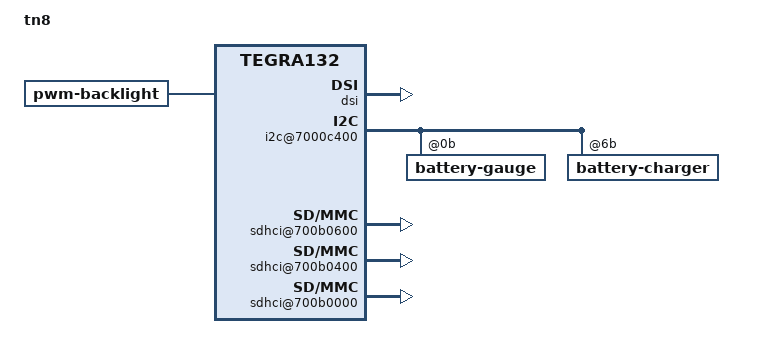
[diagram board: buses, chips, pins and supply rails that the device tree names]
/*
 * Copyright (c) 2014, NVIDIA CORPORATION.  All rights reserved.
 *
 * This program is free software; you can redistribute it and/or modify
 * it under the terms of the GNU General Public License as published by
 * the Free Software Foundation; either version 2 of the License, or
 * (at your option) any later version.
 *
 * This program is distributed in the hope that it will be useful, but WITHOUT
 * ANY WARRANTY; without even the implied warranty of MERCHANTABILITY or
 * FITNESS FOR A PARTICULAR PURPOSE.  See the GNU General Public License for
 * more details.
 *
 * You should have received a copy of the GNU General Public License along
 * with this program; if not, write to the Free Software Foundation, Inc.,
 * 51 Franklin Street, Fifth Floor, Boston, MA  02110-1301, USA.
 */

/dts-v1/;

#include "tegra132-tn8.dtsi"
#include "tegra124-platforms/tegra124-tn8-power-tree-e1936-1000-a03.dtsi"
#include "tegra124-platforms/tegra124-tn8-sensor-p1761-1270-a03.dtsi"
#include "tegra124-platforms/tegra124-tn8-pinmux-p1761-1470-a00.dtsi"
#include "tegra124-platforms/tegra124-tn8-gpio-p1761-1470-a00.dtsi"
#include "tegra124-platforms/tegra124-tn8-sysedp-p1761-1270-a02.dtsi"
#include "tegra132-platforms/tegra132-tn8-keys-p1761-1270-a03.dtsi"
#include "tegra132-platforms/tegra132-tn8-emc-p1761-1270-a03.dtsi"
#include "tegra124-platforms/tegra124-tn8-powermon-p1761-a02.dtsi"
#include "tegra132-tn8-dfll.dtsi"
#include "tegra124-platforms/tegra124-tn8-camera-p1761-1270-a03.dtsi"
#include "tegra124-platforms/tegra124-tn8-thermal-zone-p1761-1270-a00.dtsi"
#include "panel-a-wuxga-8-0.dtsi"
#include "tegra124-platforms/tegra124-tn8-hdmi-p1761-1270-a03.dtsi"
#include "tegra132-platforms/tegra132-sdhci.dtsi"
#include "tegra124-platforms/tegra124-tn8-comms.dtsi"

/ {
	model = "tn8";
	compatible = "nvidia,tn8", "nvidia,tegra132";
	nvidia,dtsfilename = __FILE__;
	nvidia,boardids = "1761:1270:3";
	#address-cells = <2>;
	#size-cells = <2>;

	chosen {
		bootargs = "tegraid=40.0.0.00.00 vmalloc=256M video=tegrafb earlycon=uart8250,mmio32,0x70006300";
		stdout-path = &uartd;
		linux,initrd-start = <0x85000000>;
		linux,initrd-end = <0x851bc400>;
	};

	firmware {
		android {
			compatible = "android,firmware";
			hardware = "tn8";
		};
	};

	host1x {
		/* tegradc.0 */
		dc@54200000 {
			status = "okay";
			nvidia,dc-flags = <TEGRA_DC_FLAG_ENABLED>;
			nvidia,emc-clk-rate = <204000000>;
			nvidia,cmu-enable = <1>;
			nvidia,low-v-win = <0x2>;
			nvidia,fb-bpp = <32>; /* bits per pixel */
			nvidia,fb-flags = <TEGRA_FB_FLIP_ON_PROBE>;
		};
		/* tegradc.1 */
		dc@54240000 {
			status = "okay";
			nvidia,dc-flags = <TEGRA_DC_FLAG_ENABLED>;
			nvidia,emc-clk-rate = <300000000>;
			nvidia,fb-bpp = <32>; /* bits per pixel */
			nvidia,fb-flags = <TEGRA_FB_FLIP_ON_PROBE>;
		};
		dsi {
			nvidia,dsi-controller-vs = <DSI_VS_1>;
			status = "okay";
			panel-a-wuxga-8-0 {
				nvidia,panel-rst-gpio = <&gpio TEGRA_GPIO(N, 4) 0>; /* PN4 */
				nvidia,panel-bl-pwm-gpio = <&gpio TEGRA_GPIO(H, 1) 0>; /* PH1 */
				disp-default-out {
					nvidia,out-rotation = <180>;
				};
			};
		};
	};

	i2c@7000c400 {
		battery-gauge@0b {
			onsemi,kernel-threshold-soc = < 2 >;
			dt-override-status-odm-data = <0x00C00000 0x00400000>;
		};

		battery-charger@6b {
			charger {
				dt-override-status-odm-data = <0x00C00000 0x00400000>;
			};
		};
	};

	i2c@7000d000 {
		tps65913 {
			thermal {
				status = "okay";
			};
		};
	};

	thermal-zones {
	       PMIC-Die {
			status = "okay";
		};

		Battery {
			status = "disabled";
			thermal-sensors = <&fg_lc709203f>;
			dt-override-status-odm-data = <0x00C00000 0x00400000>;
		};
	};

	denver_cpuidle_pmic {
		type = <4>; /* TI TPS65913 2.3 */
		retention-voltage = <11>; /* vret = .55V */
		lock = <0>;
       };

	sysedp_batmon_calc {
		dt-override-status-odm-data = <0x00C00000 0x00400000>;
	};

	backlight {
		compatible = "pwm-backlight";
		status = "okay";
	};

	sdhci@700b0600 {
		status = "okay";
	};

	sdhci@700b0400 {
		status = "okay";
	};

	sdhci@700b0000 {
		status = "okay";
	};

};

